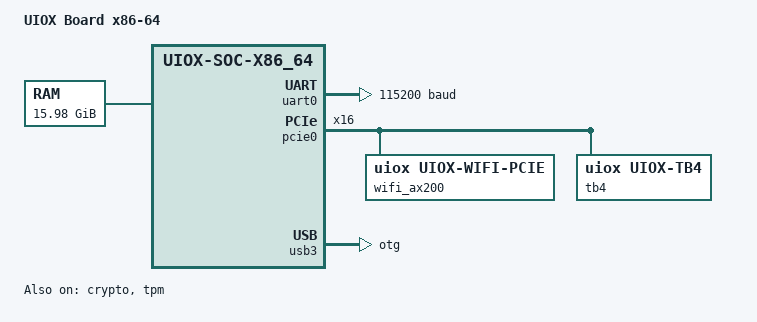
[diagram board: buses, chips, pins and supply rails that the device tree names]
/dts-v1/;

/*
 * UIOX Board — x86-64 Device Tree Source
 * Target CPU  : x86-64 (AMD64 / Intel 64, SSE4.2 / AVX2 / AVX-512)
 * Platform    : UIOX-X1 custom x86 board
 *               (uiox-cpu.md: PLATFORM=X86_64)
 *
 * Cross-referenced from:
 *   50_UIX/20_uios/uiox-cpu/include/uiox_cpu_hw.h  (APIC, TSC, RDMSR)
 *   50_UIX/20_uios/usb_/usb.md
 *   50_UIX/20_uios/wifi_/wifi.md                   (PCIe Intel AX200)
 *   50_UIX/12_ksign/include/uiox_ksign_image.h     (kernel load addr)
 *   50_UIX/20_uios/uiox-cpu/include/uiox_cpu_pm.h  (DVFS / C-states)
 *
 * Note: x86 production systems use ACPI. This DTS is consumed by
 *       UIOX's own firmware (13_fboot) on bare-metal x86 targets.
 *
 * Compile:
 *   dtc -I dts -O dtb -o uiox-x86_64.dtb uiox-x86_64.dts
 */

/ {
    #address-cells = <2>;
    #size-cells    = <2>;
    compatible     = "uiox,uiox-x1", "uiox,uiox-soc-x86_64";
    model          = "UIOX Board x86-64";
    interrupt-parent = <&apic>;

    chosen {
        stdout-path         = "serial0:115200n8";
        bootargs            = "console=ttyS0,115200n8 root=/dev/nvme0n1p2 rw";
        /* ksign kernel addresses — same as ARM64 (arch-independent) */
        uiox,kernel-load-addr  = <0x0 0x40080000>;
        uiox,kernel-entry-addr = <0x0 0x40080040>;
        uiox,ksign-enabled     = <1>;
        /* x86 hyperthreading: UIOX_CPU_CAP_HYPERTHREAD */
        uiox,hyperthreading    = <1>;
        /* CET: UIOX_CPU_CAP_CET */
        uiox,cet-enabled       = <1>;
    };

    /* -----------------------------------------------------------------
     * Memory — 16 GiB DDR5
     * Low 1 MiB: x86 legacy (BIOS, IVT, etc.) — reserved
     * -------------------------------------------------------------- */
    memory@100000 {
        device_type = "memory";
        reg = <0x0 0x00100000  0x3 0xFF000000>;  /* 16 GiB − 1 MiB */
    };

    reserved-memory {
        #address-cells = <2>;
        #size-cells    = <2>;
        ranges;

        bios_reserved: bios@0 {
            reg = <0x0 0x00000000  0x0 0x00100000>;
            no-map;
        };
        kernel_reserved: kernel@40080000 {
            reg = <0x0 0x40080000  0x0 0x00780000>;
            no-map;
        };
        dma_pool: dma_pool@4F000000 {
            compatible = "shared-dma-pool";
            reg = <0x0 0x4F000000  0x0 0x02000000>;
            reusable;
            linux,cma-default;
        };
    };

    /* -----------------------------------------------------------------
     * CPUs — 8-core x86-64 with Hyperthreading (16 logical CPUs)
     *   uiox_cpu_hw.h: UIOX_CPU_CAP_HYPERTHREAD, rdtsc, mfence, pause
     *   uiox_cpu_subsys.h: topology, threads_per_core, cores_per_socket
     * -------------------------------------------------------------- */
    cpus {
        #address-cells = <1>;
        #size-cells    = <0>;

        cpu-map {
            socket0 {
                cluster0 {
                    core0 { cpu = <&cpu0>; };
                    core1 { cpu = <&cpu1>; };
                    core2 { cpu = <&cpu2>; };
                    core3 { cpu = <&cpu3>; };
                    core4 { cpu = <&cpu4>; };
                    core5 { cpu = <&cpu5>; };
                    core6 { cpu = <&cpu6>; };
                    core7 { cpu = <&cpu7>; };
                };
            };
        };

        /* Physical cores 0-7; HT siblings mapped via ACPI in production */
        cpu0: cpu@0  { device_type="cpu"; compatible="uiox,x86-64"; reg=<0>;  enable-method="x86-sipi"; operating-points-v2=<&x86_opp>; };
        cpu1: cpu@1  { device_type="cpu"; compatible="uiox,x86-64"; reg=<1>;  enable-method="x86-sipi"; operating-points-v2=<&x86_opp>; };
        cpu2: cpu@2  { device_type="cpu"; compatible="uiox,x86-64"; reg=<2>;  enable-method="x86-sipi"; operating-points-v2=<&x86_opp>; };
        cpu3: cpu@3  { device_type="cpu"; compatible="uiox,x86-64"; reg=<3>;  enable-method="x86-sipi"; operating-points-v2=<&x86_opp>; };
        cpu4: cpu@4  { device_type="cpu"; compatible="uiox,x86-64"; reg=<4>;  enable-method="x86-sipi"; operating-points-v2=<&x86_opp>; };
        cpu5: cpu@5  { device_type="cpu"; compatible="uiox,x86-64"; reg=<5>;  enable-method="x86-sipi"; operating-points-v2=<&x86_opp>; };
        cpu6: cpu@6  { device_type="cpu"; compatible="uiox,x86-64"; reg=<6>;  enable-method="x86-sipi"; operating-points-v2=<&x86_opp>; };
        cpu7: cpu@7  { device_type="cpu"; compatible="uiox,x86-64"; reg=<7>;  enable-method="x86-sipi"; operating-points-v2=<&x86_opp>; };
    };

    /* DVFS OPP — uiox_cpu_pm.h P-states */
    x86_opp: opp-table {
        compatible = "operating-points-v2";
        opp-shared;
        opp-800000000  { opp-hz = /bits/ 64 <800000000>;  opp-microvolt = <800000>; };
        opp-1600000000 { opp-hz = /bits/ 64 <1600000000>; opp-microvolt = <900000>; };
        opp-2400000000 { opp-hz = /bits/ 64 <2400000000>; opp-microvolt = <1000000>; };
        opp-3200000000 { opp-hz = /bits/ 64 <3200000000>; opp-microvolt = <1050000>; };
        opp-4000000000 { opp-hz = /bits/ 64 <4000000000>; opp-microvolt = <1100000>; };
        opp-4800000000 { opp-hz = /bits/ 64 <4800000000>; opp-microvolt = <1200000>; };
    };

    soc {
        compatible     = "simple-bus";
        #address-cells = <2>;
        #size-cells    = <2>;
        ranges;

        /* ---- xAPIC / x2APIC
         *   uiox_cpu_hw.h: APIC (MMIO 0xFEE00000), RDMSR/WRMSR, IPI
         * ---------------------------------------------------------- */
        apic: interrupt-controller@fee00000 {
            compatible       = "uiox,x86-apic", "intel,ce4100-lapic";
            #interrupt-cells = <1>;
            interrupt-controller;
            reg              = <0x0 0xFEE00000  0x0 0x1000>;
        };

        ioapic: ioapic@fec00000 {
            compatible       = "uiox,x86-ioapic", "intel,ce4100-ioapic";
            #interrupt-cells = <1>;
            interrupt-controller;
            reg              = <0x0 0xFEC00000  0x0 0x1000>;
        };

        /* ---- x86 HPET (replaces timer_base for x86)
         *   uiox_cpu_hw.h: timer_base, uiox_cpu_rdtsc()
         * ---------------------------------------------------------- */
        hpet: hpet@fed00000 {
            compatible  = "uiox,x86-hpet", "intel,ce4100-hpet";
            reg         = <0x0 0xFED00000  0x0 0x1000>;
            interrupt-parent = <&ioapic>;
            interrupts  = <0>;
            timer-width = <64>;
        };

        /* ---- UART / 16550A serial (COM1) --------- */
        uart0: serial@3f8 {
            compatible  = "uiox,uiox-uart", "ns16550a";
            reg         = <0x0 0x3F8  0x0 0x8>;
            interrupts  = <4>;
            clock-frequency = <1843200>;
            current-speed   = <115200>;
            status      = "okay";
        };

        uart1: serial@2f8 {
            compatible  = "uiox,uiox-uart", "ns16550a";
            reg         = <0x0 0x2F8  0x0 0x8>;
            interrupts  = <3>;
            clock-frequency = <1843200>;
            status      = "disabled";
        };

        /* ---- PCIe root complex (NVMe + TB4 + Intel AX200 Wi-Fi)
         *   wifi.md: PCIe (Intel AX200) vtable
         *   tb4_/: Thunderbolt 4 controller on PCIe
         * ---------------------------------------------------------- */
        pcie0: pcie@e0000000 {
            compatible      = "uiox,uiox-pcie-x86", "pci-host-ecam-generic";
            device_type     = "pci";
            reg             = <0x0 0xE0000000  0x0 0x10000000>;  /* ECAM 256 MiB */
            #address-cells  = <3>;
            #size-cells     = <2>;
            ranges =
                <0x01000000 0x0 0x00000000  0x0 0xD0000000  0x0 0x01000000>,
                <0x02000000 0x0 0xA0000000  0x0 0xA0000000  0x0 0x30000000>;
            bus-range       = <0x0 0xFF>;
            num-lanes       = <16>;
            max-link-speed  = <4>;
            interrupt-parent = <&ioapic>;
            interrupts      = <16>;

            /* Intel AX200 Wi-Fi (PCIe — wifi.md) */
            wifi_ax200: wifi@1,0 {
                compatible = "uiox,uiox-wifi-pcie", "intel,iwlwifi";
                reg        = <0x800 0 0 0 0>;
            };

            /* Thunderbolt 4 (tb4_/) */
            tb4: thunderbolt@2,0 {
                compatible = "uiox,uiox-tb4";
                reg        = <0x1000 0 0 0 0>;
            };
        };

        /* ---- USB xHCI (usb_/ subsystem — FS/HS/SS/SS+, OTG) ----- */
        usb3: usb@e8000000 {
            compatible   = "uiox,uiox-usb3", "generic-xhci";
            reg          = <0x0 0xE8000000  0x0 0x10000>;
            interrupts   = <20>;
            interrupt-parent = <&ioapic>;
            dr_mode      = "otg";
            maximum-speed = "super-speed-plus";
            status       = "okay";
        };

        /* ---- UIOX Crypto / ksign hardware accelerator ------------ */
        crypto: crypto@e9000000 {
            compatible   = "uiox,uiox-crypto";
            reg          = <0x0 0xE9000000  0x0 0x10000>;
            interrupts   = <22>;
            interrupt-parent = <&ioapic>;
            uiox,ksign-hw-accel;
            status       = "okay";
        };

        /* ---- TPM 2.0 (ksign attestation / PCR quote) ------------- */
        tpm: tpm@fed40000 {
            compatible  = "uiox,uiox-tpm", "tcg,tpm-tis-mmio";
            reg         = <0x0 0xFED40000  0x0 0x5000>;
            interrupts  = <6>;
            interrupt-parent = <&ioapic>;
            status      = "okay";
        };

        /* ---- Thermal (uiox_cpu_pm.h / thermal_/ subsystem) ------- */
        thermal_sensor: temp-sensor@40b {
            compatible = "uiox,uiox-thermal-sensor", "intel,core-thermal";
            reg        = <0x0 0x40B  0x0 0x1>;
        };
    };
};
